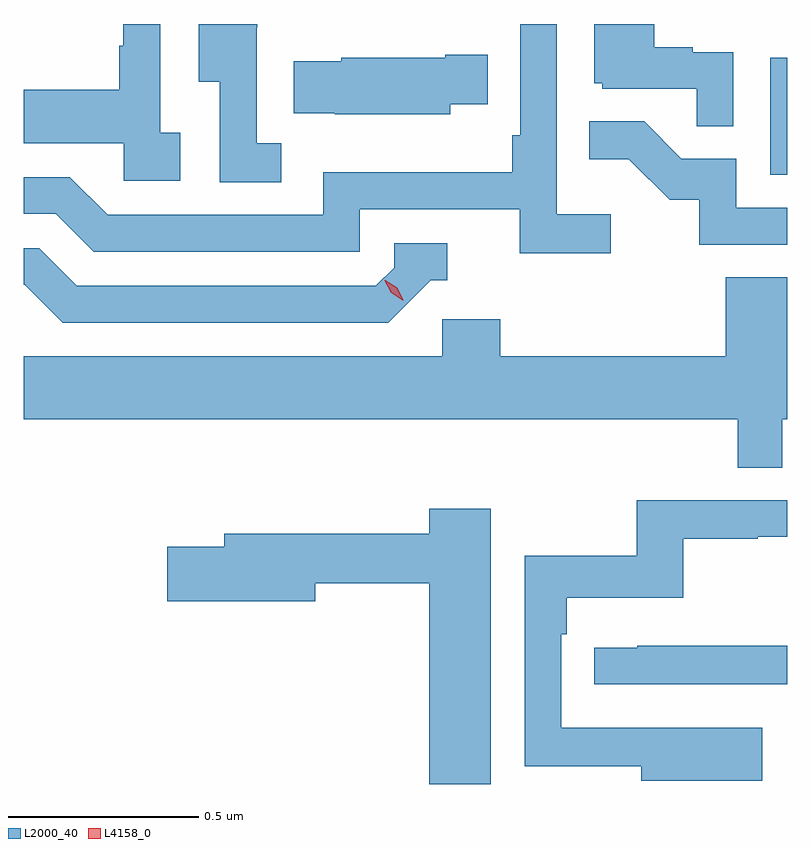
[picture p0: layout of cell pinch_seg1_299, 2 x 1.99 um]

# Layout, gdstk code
import gdstk
lib = gdstk.Library(unit=1e-6, precision=1e-09)
def R(c, l, rs):  # rectangles x0, y0, x1, y1
    for r in rs: c.add(gdstk.rectangle(r[:2], r[2:], *l))
def P(c, l, *ps):  # polygons
    for p in ps: c.add(gdstk.Polygon(p, *l))
L2000_40 = (2000, 40)
L4158_0 = (4158, 0)

pinch_seg1_299 = lib.new_cell('pinch_seg1_299')
R(pinch_seg1_299, L2000_40, [(926.6,552.372,926.644,552.679)])
P(pinch_seg1_299, L2000_40, [(925.054,552.482),(925.002,552.482),(925.002,552.767),(924.904,552.767),(924.904,552.71),(924.894,552.71),(924.894,552.595),(924.644,552.595),(924.644,552.455),(924.906,552.455),(924.906,552.357),(925.054,552.357)],
  [(926.182,552.268),(926.04,552.268),(926.04,552.767),(925.944,552.767),(925.944,552.475),(925.924,552.475),(925.924,552.379),(925.428,552.379),(925.428,552.267),(924.864,552.267),(924.765,552.366),(924.644,552.366),(924.644,552.27),(924.728,552.27),(924.827,552.171),(925.524,552.171),(925.524,552.282),(925.943,552.282),(925.943,552.166),(926.182,552.166)],
  [(925.318,552.455),(925.254,552.455),(925.254,552.759),(925.256,552.759),(925.256,552.767),(925.103,552.767),(925.103,552.616),(925.158,552.616),(925.158,552.352),(925.318,552.352)],
  [(926.502,552.693),(926.396,552.693),(926.396,552.706),(926.296,552.706),(926.296,552.767),(926.138,552.767),(926.138,552.612),(926.16,552.612),(926.16,552.597),(926.407,552.597),(926.407,552.499),(926.502,552.499)],
  [(925.761,552.557),(925.859,552.557),(925.859,552.687),(925.748,552.687),(925.748,552.679),(925.476,552.679),(925.476,552.67),(925.351,552.67),(925.351,552.533),(925.459,552.533),(925.459,552.53),(925.761,552.53)],
  [(926.644,552.285),(926.511,552.285),(926.511,552.414),(926.367,552.414),(926.269,552.512),(926.125,552.512),(926.125,552.413),(926.229,552.413),(926.336,552.306),(926.413,552.306),(926.413,552.189),(926.644,552.189)],
  [(925.71,552.096),(925.753,552.096),(925.753,552.192),(925.614,552.192),(925.614,552.129),(925.566,552.081),(924.783,552.081),(924.684,552.18),(924.644,552.18),(924.644,552.084),(924.647,552.084),(924.746,551.985),(925.599,551.985)],
  [(926.631,551.732),(926.644,551.732),(926.644,552.104),(926.483,552.104),(926.483,551.896),(925.892,551.896),(925.892,551.994),(925.74,551.994),(925.74,551.896),(924.644,551.896),(924.644,551.732),(926.515,551.732),(926.515,551.605),(926.631,551.605)],
  [(926.579,550.924),(926.365,550.924),(926.365,550.923),(926.052,550.923),(926.052,551.168),(926.066,551.168),(926.066,551.264),(926.371,551.264),(926.371,551.419),(926.567,551.419),(926.567,551.424),(926.644,551.424),(926.644,551.52),(926.25,551.52),(926.25,551.374),(925.956,551.374),(925.956,550.822),(926.261,550.822),(926.261,550.784),(926.579,550.784)],
  [(925.867,551.497),(925.706,551.497),(925.706,551.431),(925.169,551.431),(925.169,551.397),(925.02,551.397),(925.02,551.255),(925.408,551.255),(925.408,551.302),(925.706,551.302),(925.706,550.776),(925.867,550.776)],
  [(926.644,551.138),(926.251,551.138),(926.251,551.133),(926.139,551.133),(926.139,551.037),(926.644,551.037)])
P(pinch_seg1_299, L4158_0, [(925.637,552.043),(925.607,552.063),(925.59,552.095),(925.59,552.096),(925.591,552.096),(925.622,552.076),(925.638,552.044),(925.638,552.043)])

lib.write_gds('pinch_seg1_299.gds')
